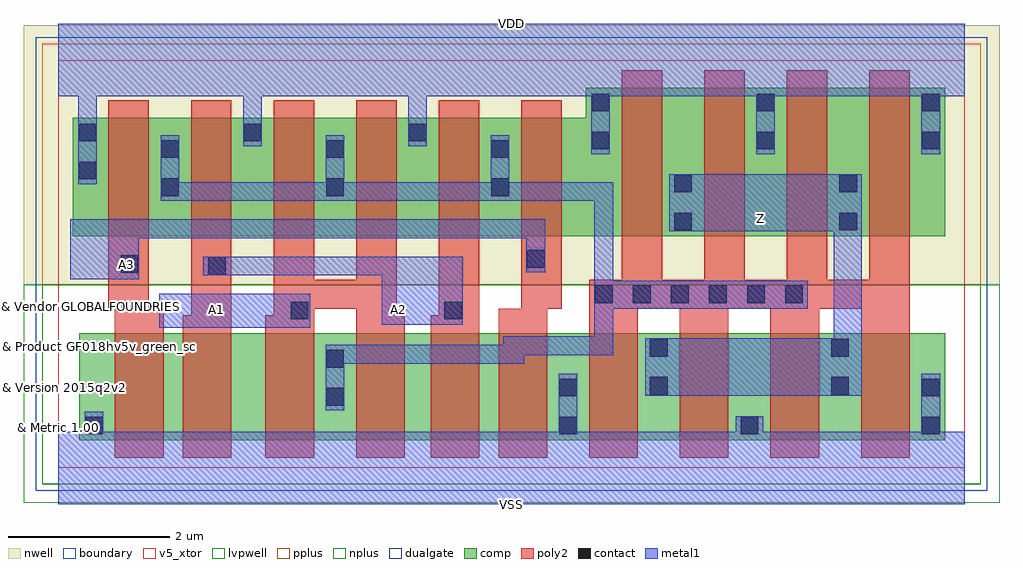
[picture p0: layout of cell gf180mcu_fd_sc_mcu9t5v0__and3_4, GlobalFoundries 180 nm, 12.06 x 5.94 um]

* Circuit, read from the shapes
.subckt gf180mcu_fd_sc_mcu9t5v0__and3_4 A1 A2 A3 VDD VSS Z
XM1 n1 A3 VSS VSUBS nfet_05v0 w=1.32u l=0.6u
XM2 n2 A2 n1 VSUBS nfet_05v0 w=1.32u l=0.6u
XM3 n3 A1 n2 VSUBS nfet_05v0 w=1.32u l=0.6u
XM4 n4 A1 n3 VSUBS nfet_05v0 w=1.32u l=0.6u
XM5 n5 A2 n4 VSUBS nfet_05v0 w=1.32u l=0.6u
XM6 VSS A3 n5 VSUBS nfet_05v0 w=1.32u l=0.6u
XM7 Z n3 VSS VSUBS nfet_05v0 w=1.32u l=0.6u m=4
XM8 n3 A3 VDD n6 pfet_05v0 w=1.46u l=0.5u m=2
XM9 VDD A2 n3 n6 pfet_05v0 w=1.46u l=0.5u m=2
XM10 n3 A1 VDD n6 pfet_05v0 w=1.46u l=0.5u m=2
XM11 Z n3 VDD n6 pfet_05v0 w=1.83u l=0.5u m=4
.ends

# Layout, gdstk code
import gdstk
lib = gdstk.Library(unit=1e-6, precision=1e-09)
def R(c, l, rs):  # rectangles x0, y0, x1, y1
    for r in rs: c.add(gdstk.rectangle(r[:2], r[2:], *l))
def A(c, l, x, y, w, h, nx, ny, dx, dy):  # array of equal rectangles
    R(c, l, [(x+i*dx, y+j*dy, x+i*dx+w, y+j*dy+h) for i in range(nx) for j in range(ny)])
def P(c, l, *ps):  # polygons
    for p in ps: c.add(gdstk.Polygon(p, *l))
boundary = (0, 0)
nwell = (21, 0)
comp = (22, 0)
poly2 = (30, 0)
pplus = (31, 0)
nplus = (32, 0)
contact = (33, 0)
metal1 = (34, 0)
dualgate = (55, 0)
v5_xtor = (112, 1)
lvpwell = (204, 0)

gf180mcu_fd_sc_mcu9t5v0_ = lib.new_cell('gf180mcu_fd_sc_mcu9t5v0__and3_4')
R(gf180mcu_fd_sc_mcu9t5v0_, boundary, [(0,0,11.2,5.04)])
R(gf180mcu_fd_sc_mcu9t5v0_, nwell, [(-0.43,2.265,11.63,5.47)])
R(gf180mcu_fd_sc_mcu9t5v0_, comp, [(0.26,0.345,10.96,1.665)])
P(gf180mcu_fd_sc_mcu9t5v0_, comp, [(0.18,2.865),(0.18,4.325),(6.52,4.325),(6.52,4.695),(10.96,4.695),(10.96,2.865)])
P(gf180mcu_fd_sc_mcu9t5v0_, poly2, [(0.7,0.125),(0.7,1.965),(0.62,1.965),(0.62,4.545),(1.12,4.545),(1.12,1.965),(1.3,1.965),(1.3,0.125)],
  [(1.54,0.125),(1.54,1.885),(1.64,1.885),(1.64,4.545),(2.14,4.545),(2.14,0.125)],
  [(2.56,0.125),(2.56,1.885),(2.66,1.885),(2.66,4.545),(3.16,4.545),(3.16,2.325),(3.68,2.325),(3.68,4.545),(4.18,4.545),(4.18,1.885),(4.28,1.885),(4.28,0.125),(3.68,0.125),(3.68,1.965),(3.16,1.965),(3.16,0.125)],
  [(4.6,0.125),(4.6,1.885),(4.7,1.885),(4.7,4.545),(5.2,4.545),(5.2,0.125)],
  [(5.44,0.125),(5.44,1.965),(5.72,1.965),(5.72,4.545),(6.22,4.545),(6.22,1.965),(6.04,1.965),(6.04,0.125)],
  [(6.56,0.125),(6.56,2.325),(6.96,2.325),(6.96,4.915),(7.46,4.915),(7.46,2.325),(7.98,2.325),(7.98,4.915),(8.48,4.915),(8.48,2.325),(9,2.325),(9,4.915),(9.5,4.915),(9.5,2.325),(10.02,2.325),(10.02,4.915),(10.52,4.915),(10.52,0.125),(9.92,0.125),(9.92,1.965),(9.4,1.965),(9.4,0.125),(8.8,0.125),(8.8,1.965),(8.28,1.965),(8.28,0.125),(7.68,0.125),(7.68,1.965),(7.16,1.965),(7.16,0.125)])
R(gf180mcu_fd_sc_mcu9t5v0_, pplus, [(-0.2,2.265,11.4,5.24)])
R(gf180mcu_fd_sc_mcu9t5v0_, nplus, [(-0.2,-0.2,11.4,2.265)])
A(gf180mcu_fd_sc_mcu9t5v0_, contact, 6.19, 0.415, 0.22, 0.22, 3, 1, 2.24, 0)
A(gf180mcu_fd_sc_mcu9t5v0_, contact, 6.63, 2.035, 0.22, 0.22, 6, 1, 0.47, 0)
A(gf180mcu_fd_sc_mcu9t5v0_, contact, 1.27, 3.36, 0.22, 0.22, 3, 2, 2.04, 0.47)
A(gf180mcu_fd_sc_mcu9t5v0_, contact, 6.59, 3.935, 0.22, 0.22, 3, 2, 2.04, 0.47)
A(gf180mcu_fd_sc_mcu9t5v0_, contact, 0.25, 4.035, 0.22, 0.22, 3, 1, 2.04, 0)
R(gf180mcu_fd_sc_mcu9t5v0_, contact, [(0.33,0.415,0.55,0.635), (3.31,0.77,3.53,0.99), (6.19,0.885,6.41,1.105), (10.67,0.885,10.89,1.105), (7.31,0.905,7.53,1.125), (9.55,0.905,9.77,1.125), (3.31,1.24,3.53,1.46), (7.31,1.375,7.53,1.595), (9.55,1.375,9.77,1.595), (2.87,1.835,3.09,2.055), (4.77,1.835,4.99,2.055), (1.85,2.385,2.07,2.605), (0.77,2.41,0.99,2.63), (5.79,2.475,6.01,2.695), (7.61,2.935,7.83,3.155), (9.65,2.935,9.87,3.155), (7.61,3.405,7.83,3.625), (9.65,3.405,9.87,3.625), (0.25,3.565,0.47,3.785)])
R(gf180mcu_fd_sc_mcu9t5v0_, metal1, [(1.245,1.73,3.115,2.15)])
P(gf180mcu_fd_sc_mcu9t5v0_, metal1, [(3.995,1.77),(3.995,2.38),(1.79,2.38),(1.79,2.61),(5,2.61),(5,1.77)],
  [(0.15,2.33),(0.15,3.07),(6.02,3.07),(6.02,2.415),(5.785,2.415),(5.785,2.84),(0.995,2.84),(0.995,2.33)],
  [(3.305,0.71),(3.305,1.52),(5.5,1.52),(5.5,1.625),(6.625,1.625),(6.625,3.3),(1.265,3.3),(1.265,4.11),(1.495,4.11),(1.495,3.53),(3.305,3.53),(3.305,4.11),(3.535,4.11),(3.535,3.53),(5.345,3.53),(5.345,4.11),(5.575,4.11),(5.575,3.53),(6.855,3.53),(6.855,2.31),(9.26,2.31),(9.26,1.97),(6.855,1.97),(6.855,1.395),(5.755,1.395),(5.755,1.29),(3.535,1.29),(3.535,0.71)],
  [(7.25,0.895),(7.25,1.6),(9.58,1.6),(9.58,2.925),(7.55,2.925),(7.55,3.63),(9.93,3.63),(9.93,0.895)],
  [(0,-0.45),(0,0.45),(0.325,0.45),(0.325,0.695),(0.555,0.695),(0.555,0.45),(6.185,0.45),(6.185,1.165),(6.415,1.165),(6.415,0.45),(8.37,0.45),(8.37,0.64),(8.71,0.64),(8.71,0.45),(10.665,0.45),(10.665,1.165),(10.895,1.165),(10.895,0.45),(11.2,0.45),(11.2,-0.45)],
  [(0.245,3.505),(0.245,4.59),(0,4.59),(0,5.49),(11.2,5.49),(11.2,4.59),(10.895,4.59),(10.895,3.875),(10.665,3.875),(10.665,4.59),(8.855,4.59),(8.855,3.875),(8.625,3.875),(8.625,4.59),(6.815,4.59),(6.815,3.875),(6.585,3.875),(6.585,4.59),(4.555,4.59),(4.555,3.975),(4.325,3.975),(4.325,4.59),(2.515,4.59),(2.515,3.975),(2.285,3.975),(2.285,4.59),(0.475,4.59),(0.475,3.505)])
R(gf180mcu_fd_sc_mcu9t5v0_, dualgate, [(-0.28,-0.28,11.48,5.32)])
R(gf180mcu_fd_sc_mcu9t5v0_, v5_xtor, [(0,0,11.2,5.04)])
R(gf180mcu_fd_sc_mcu9t5v0_, lvpwell, [(-0.43,-0.43,11.63,2.265)])
gf180mcu_fd_sc_mcu9t5v0_.add(gdstk.Label('A1', (1.96,1.96), layer=34, texttype=10))
gf180mcu_fd_sc_mcu9t5v0_.add(gdstk.Label('A2', (4.2,1.96), layer=34, texttype=10))
gf180mcu_fd_sc_mcu9t5v0_.add(gdstk.Label('A3', (0.84,2.52), layer=34, texttype=10))
gf180mcu_fd_sc_mcu9t5v0_.add(gdstk.Label('VDD', (5.6,5.49), layer=34, texttype=10))
gf180mcu_fd_sc_mcu9t5v0_.add(gdstk.Label('VSS', (5.6,-0.45), layer=34, texttype=10))
gf180mcu_fd_sc_mcu9t5v0_.add(gdstk.Label('Z', (8.68,3.08), layer=34, texttype=10))
gf180mcu_fd_sc_mcu9t5v0_.add(gdstk.Label('& Vendor GLOBALFOUNDRIES', (0,2), layer=63, texttype=63))
gf180mcu_fd_sc_mcu9t5v0_.add(gdstk.Label('& Product GF018hv5v_green_sc9', (0,1.5), layer=63, texttype=63))
gf180mcu_fd_sc_mcu9t5v0_.add(gdstk.Label('& Version 2015q2v2', (0,1), layer=63, texttype=63))
gf180mcu_fd_sc_mcu9t5v0_.add(gdstk.Label('& Metric 1.00', (0,0.5), layer=63, texttype=63))

lib.write_gds('gf180mcu_fd_sc_mcu9t5v0__and3_4.gds')
